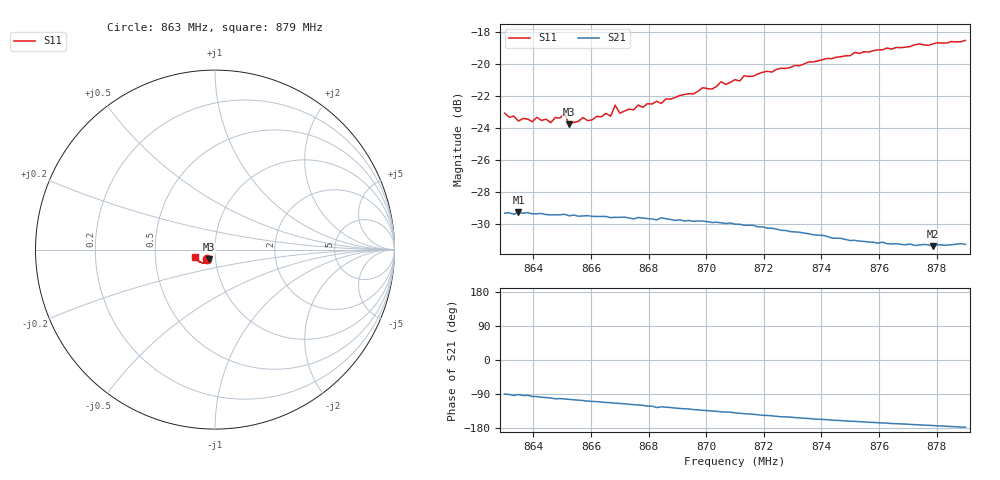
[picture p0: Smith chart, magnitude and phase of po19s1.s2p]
# HZ S RI R 50
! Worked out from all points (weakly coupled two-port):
!   101 points, 863 MHz to 879 MHz, reference 50 ohm
!   highest |S21| = -29.30 dB at 863.48 MHz (marker M1); lowest = -31.4 dB at 877.88 MHz (marker M2)
!   lowest |S11| = -23.8 dB at 865.24 MHz (marker M3), VSWR 1.14, Z = 46.4 - j5.1 ohm
!   |S11| at or under -10 dB: start of sweep to end of sweep
!   S12 and S22 are empty: the file has one direction only
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8.63e8  -0.0447 -0.0539  0.000115 -0.0341  0 0  0 0
8.6348e8  -0.0398 -0.0529  -0.00058 -0.0343  0 0  0 0
8.6396e8  -0.0399 -0.0524  -0.00365 -0.0337  0 0  0 0
8.6412e8  -0.042 -0.0535  -0.00388 -0.0337  0 0  0 0
8.646e8  -0.037 -0.0539  -0.00603 -0.0331  0 0  0 0
8.6508e8  -0.0409 -0.0566  -0.0075 -0.033  0 0  0 0
8.6524e8  -0.0344 -0.0547  -0.00803 -0.0325  0 0  0 0
8.6572e8  -0.034 -0.0587  -0.00976 -0.032  0 0  0 0
8.6588e8  -0.034 -0.057  -0.0106 -0.0318  0 0  0 0
8.6652e8  -0.0339 -0.0612  -0.0126 -0.0308  0 0  0 0
8.6668e8  -0.0337 -0.0597  -0.0127 -0.0305  0 0  0 0
8.6684e8  -0.0405 -0.0621  -0.0134 -0.0303  0 0  0 0
8.67e8  -0.0335 -0.0615  -0.0138 -0.0301  0 0  0 0
8.6764e8  -0.0365 -0.0646  -0.0159 -0.029  0 0  0 0
8.6844e8  -0.0384 -0.0645  -0.0182 -0.0275  0 0  0 0
8.686e8  -0.0377 -0.0678  -0.0186 -0.027  0 0  0 0
8.702e8  -0.0422 -0.0718  -0.0225 -0.0226  0 0  0 0
8.71e8  -0.049 -0.0745  -0.024 -0.0204  0 0  0 0
8.7372e8  -0.0684 -0.0747  -0.0266 -0.0121  0 0  0 0
8.7644e8  -0.0923 -0.0617  -0.0267 -0.00582  0 0  0 0
8.7788e8  -0.104 -0.05  -0.0267 -0.00327  0 0  0 0
8.79e8  -0.1112 -0.04  -0.0272 -0.00131  0 0  0 0
